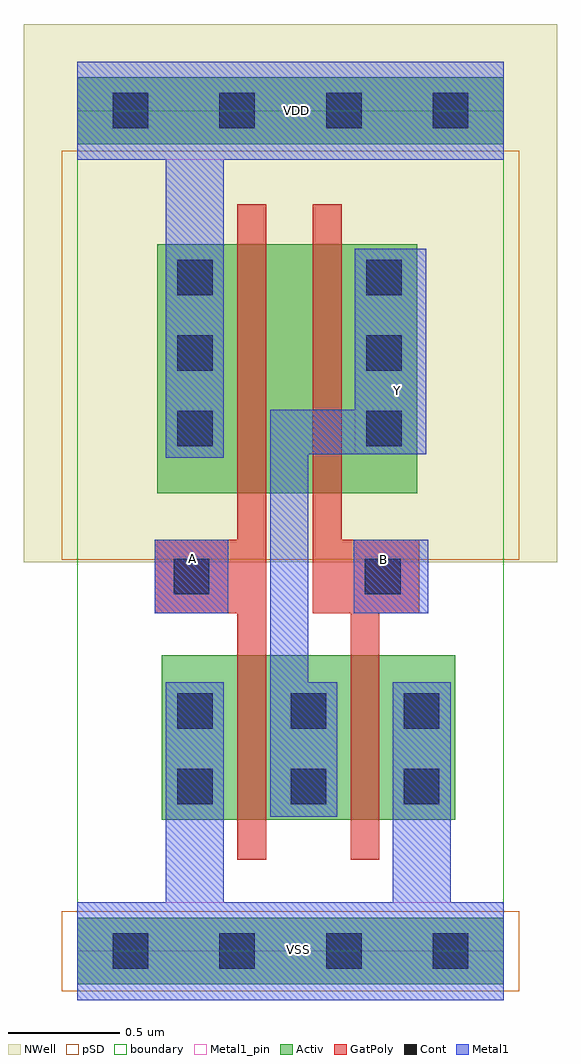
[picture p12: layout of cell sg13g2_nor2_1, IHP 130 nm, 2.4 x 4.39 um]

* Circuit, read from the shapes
.subckt sg13g2_nor2_1 A B VDD VSS Y
XM1 Y A VSS VSS sg13_lv_nmos w=0.74u l=0.13u
XM2 VSS B Y VSS sg13_lv_nmos w=0.74u l=0.13u
XM3 n1 A VDD VDD sg13_lv_pmos w=1.12u l=0.13u
XM4 Y B n1 VDD sg13_lv_pmos w=1.12u l=0.13u
.ends

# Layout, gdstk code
import gdstk
lib = gdstk.Library(unit=1e-6, precision=1e-09)
def R(c, l, rs):  # rectangles x0, y0, x1, y1
    for r in rs: c.add(gdstk.rectangle(r[:2], r[2:], *l))
def A(c, l, x, y, w, h, nx, ny, dx, dy):  # array of equal rectangles
    R(c, l, [(x+i*dx, y+j*dy, x+i*dx+w, y+j*dy+h) for i in range(nx) for j in range(ny)])
def P(c, l, *ps):  # polygons
    for p in ps: c.add(gdstk.Polygon(p, *l))
Activ = (1, 0)
GatPoly = (5, 0)
Cont = (6, 0)
Metal1 = (8, 0)
Metal1_pin = (8, 2)
pSD = (14, 0)
NWell = (31, 0)
boundary = (189, 4)

sg13g2_nor2_1 = lib.new_cell('sg13g2_nor2_1')
R(sg13g2_nor2_1, Activ, [(0,-0.15,1.92,0.15), (0.38,0.59,1.7,1.33), (0.36,2.06,1.53,3.18), (0,3.63,1.92,3.93)])
P(sg13g2_nor2_1, GatPoly, [(1.23,0.41),(1.23,1.52),(1.06,1.52),(1.06,3.36),(1.19,3.36),(1.19,1.85),(1.54,1.85),(1.54,1.52),(1.36,1.52),(1.36,0.41)],
  [(0.72,0.41),(0.72,1.52),(0.35,1.52),(0.35,1.85),(0.72,1.85),(0.72,3.36),(0.85,3.36),(0.85,0.41)])
A(sg13g2_nor2_1, Cont, 0.16, -0.08, 0.16, 0.16, 4, 2, 0.48, 3.78)
A(sg13g2_nor2_1, Cont, 0.45, 0.66, 0.16, 0.16, 3, 2, 0.51, 0.34)
A(sg13g2_nor2_1, Cont, 0.45, 2.27, 0.16, 0.16, 1, 3, 0, 0.34)
A(sg13g2_nor2_1, Cont, 1.3, 2.27, 0.16, 0.16, 1, 3, 0, 0.34)
R(sg13g2_nor2_1, Cont, [(0.435,1.605,0.595,1.765), (1.295,1.605,1.455,1.765)])
R(sg13g2_nor2_1, Metal1, [(0.35,1.52,0.68,1.85), (1.245,1.52,1.58,1.85)])
P(sg13g2_nor2_1, Metal1, [(0.87,0.605),(0.87,2.435),(1.25,2.435),(1.25,3.16),(1.57,3.16),(1.57,2.235),(1.04,2.235),(1.04,1.21),(1.17,1.21),(1.17,0.605)],
  [(0.4,2.22),(0.4,3.56),(0,3.56),(0,4),(1.92,4),(1.92,3.56),(0.66,3.56),(0.66,2.22)],
  [(0,-0.22),(0,0.22),(0.4,0.22),(0.4,1.21),(0.66,1.21),(0.66,0.22),(1.42,0.22),(1.42,1.21),(1.68,1.21),(1.68,0.22),(1.92,0.22),(1.92,-0.22)])
R(sg13g2_nor2_1, Metal1_pin, [(0,-0.22,1.92,0.22), (0.35,1.52,0.68,1.85), (1.245,1.52,1.58,1.85), (1.25,2.235,1.57,3.16), (0,3.56,1.92,4)])
R(sg13g2_nor2_1, pSD, [(-0.07,-0.18,1.99,0.18), (-0.07,1.76,1.99,3.6)])
R(sg13g2_nor2_1, NWell, [(-0.24,1.75,2.16,4.17)])
R(sg13g2_nor2_1, boundary, [(0,0,1.92,3.78)])
sg13g2_nor2_1.add(gdstk.Label('A', (0.52,1.765), layer=8, texttype=25))
sg13g2_nor2_1.add(gdstk.Label('VDD', (0.985,3.78), layer=8, texttype=25))
sg13g2_nor2_1.add(gdstk.Label('B', (1.38,1.76), layer=8, texttype=25))
sg13g2_nor2_1.add(gdstk.Label('Y', (1.44,2.52), layer=8, texttype=25))
sg13g2_nor2_1.add(gdstk.Label('VSS', (0.995,0.005), layer=8, texttype=25))

lib.write_gds('sg13g2_nor2_1.gds')
